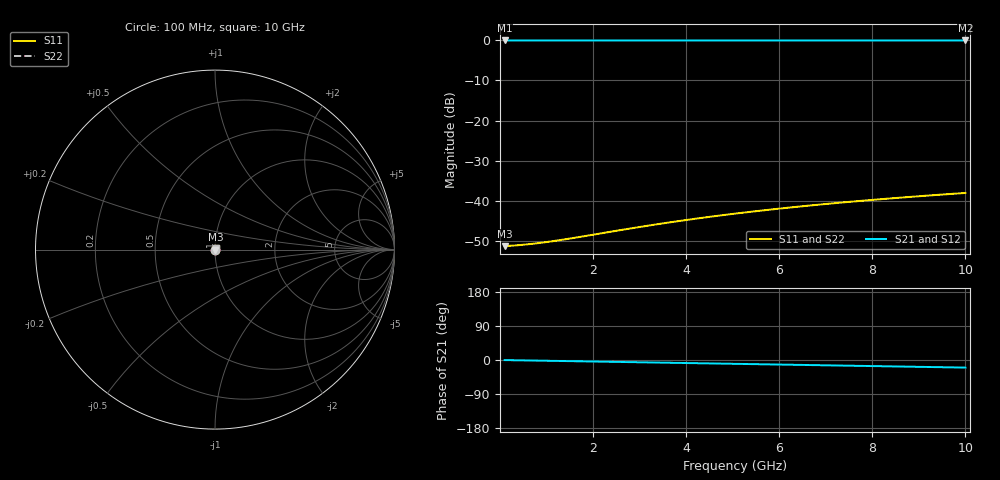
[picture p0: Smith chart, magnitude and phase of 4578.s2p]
# Hz S RI R 50.00
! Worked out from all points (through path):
!   100 points, 100 MHz to 10 GHz, reference 50 ohm
!   highest |S21| = -0.02 dB at 100 MHz (marker M1); lowest = 0.0 dB at 10 GHz (marker M2)
!   group delay of S21, straight-line fit = 5.57 ps
!   lowest |S11| = -51.4 dB at 100 MHz (marker M3), VSWR 1.01, Z = 50.3 + j0.0117 ohm
!   |S11| at or under -10 dB: start of sweep to end of sweep
!   |S22| runs from -51.4 to -38.1 dB; largest |S21 - S12| = 0
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1e8  0.0027 0.000116  0.9973 -0.00348  0.9973 -0.00348  0.0027 0.000116
3e8  0.00274 0.000348  0.9972 -0.0104  0.9972 -0.0104  0.00274 0.000348
5e8  0.00276 0.00058  0.9971 -0.0174  0.9971 -0.0174  0.00276 0.00058
7e8  0.00278 0.000811  0.9969 -0.0244  0.9969 -0.0244  0.00278 0.000811
9e8  0.00281 0.00104  0.9967 -0.0313  0.9967 -0.0313  0.00281 0.00104
1.1e9  0.00283 0.00127  0.9964 -0.0383  0.9964 -0.0383  0.00283 0.00127
1.3e9  0.00286 0.0015  0.9961 -0.0452  0.9961 -0.0452  0.00286 0.0015
1.8e9  0.00294 0.00208  0.9952 -0.0626  0.9952 -0.0626  0.00294 0.00208
2.7e9  0.00312 0.0031  0.9927 -0.0939  0.9927 -0.0939  0.00312 0.0031
3.4e9  0.00331 0.00388  0.99 -0.1181  0.99 -0.1181  0.00331 0.00388
3.8e9  0.00344 0.00432  0.9883 -0.132  0.9883 -0.132  0.00344 0.00432
4.2e9  0.00357 0.00476  0.9863 -0.1458  0.9863 -0.1458  0.00357 0.00476
4.6e9  0.00372 0.00519  0.9841 -0.1595  0.9841 -0.1595  0.00372 0.00519
5.1e9  0.00393 0.00573  0.9812 -0.1767  0.9812 -0.1767  0.00393 0.00573
5.5e9  0.0041 0.00615  0.9786 -0.1904  0.9786 -0.1904  0.0041 0.00615
5.9e9  0.00429 0.00657  0.9758 -0.2041  0.9758 -0.2041  0.00429 0.00657
6.3e9  0.00449 0.00698  0.9728 -0.2177  0.9728 -0.2177  0.00449 0.00698
6.7e9  0.0047 0.00738  0.9697 -0.2313  0.9697 -0.2313  0.0047 0.00738
7.5e9  0.00516 0.00817  0.9628 -0.2584  0.9628 -0.2584  0.00516 0.00817
8.4e9  0.00572 0.00901  0.9541 -0.2886  0.9541 -0.2886  0.00572 0.00901
9.2e9  0.00627 0.00974  0.9456 -0.3152  0.9456 -0.3152  0.00627 0.00974
1e10  0.00686 0.0104  0.9363 -0.3416  0.9363 -0.3416  0.00686 0.0104
